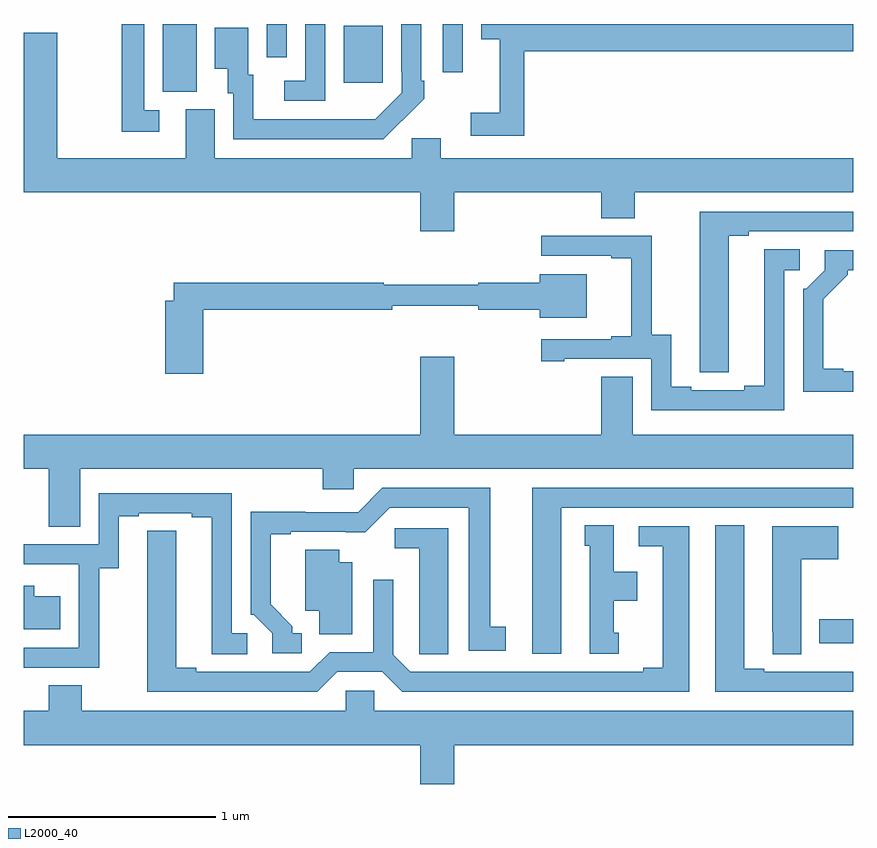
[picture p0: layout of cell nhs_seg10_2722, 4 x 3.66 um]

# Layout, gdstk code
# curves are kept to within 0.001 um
import gdstk
lib = gdstk.Library(unit=1e-6, precision=1e-09)
def R(c, l, rs):  # rectangles x0, y0, x1, y1
    for r in rs: c.add(gdstk.rectangle(r[:2], r[2:], *l))
def P(c, l, *ps):  # polygons
    for p in ps: c.add(gdstk.Polygon(p, *l))
L2000_40 = (2000, 40)

nhs_seg10_2722 = lib.new_cell('nhs_seg10_2722')
R(nhs_seg10_2722, L2000_40, [(262.835,1259.514,263,1259.631), (259.67,1262.173,259.834,1262.5), (260.543,1262.217,260.731,1262.491), (261.021,1262.268,261.117,1262.5), (260.172,1262.34,260.268,1262.5)])
P(nhs_seg10_2722, L2000_40, [(259.654,1262.085),(259.581,1262.085),(259.581,1262.5),(259.473,1262.5),(259.473,1261.98),(259.654,1261.98)],
  [(260.454,1262.5),(260.358,1262.5),(260.358,1262.226),(260.256,1262.226),(260.256,1262.13),(260.454,1262.13)],
  [(261.413,1262.368),(263,1262.368),(263,1262.5),(261.206,1262.5),(261.206,1262.426),(261.296,1262.426),(261.296,1262.071),(261.156,1262.071),(261.156,1261.962),(261.413,1261.962)],
  [(260.825,1262.035),(260.826,1262.034),(260.931,1262.139),(260.931,1262.227),(260.916,1262.227),(260.916,1262.5),(260.82,1262.5),(260.82,1262.269),(260.823,1262.269),(260.823,1262.169),(260.695,1262.041),(260.107,1262.04),(260.107,1262.256),(260.083,1262.256),(260.083,1262.482),(259.922,1262.482),(259.922,1262.285),(259.985,1262.285),(259.985,1262.166),(260.01,1262.166),(260.01,1261.944),(260.734,1261.944)],
  [(261.076,1261.688),(261.785,1261.688),(261.785,1261.564),(261.945,1261.564),(261.945,1261.688),(263,1261.688),(263,1261.852),(261.01,1261.852),(261.01,1261.95),(260.871,1261.95),(260.871,1261.852),(259.921,1261.852),(259.921,1262.088),(259.781,1262.088),(259.781,1261.852),(259.162,1261.852),(259.162,1262.458),(259,1262.458),(259,1261.688),(260.912,1261.688),(260.912,1261.5),(261.076,1261.5)],
  [(262.399,1261.48),(262.495,1261.48),(262.495,1261.5),(263,1261.5),(263,1261.596),(262.259,1261.596),(262.259,1260.928),(262.26,1260.928),(262.26,1260.82),(262.399,1260.82)],
  [(262.668,1261.314),(262.741,1261.314),(262.741,1261.415),(262.571,1261.415),(262.571,1260.755),(262.475,1260.755),(262.475,1260.735),(262.219,1260.735),(262.219,1260.75),(262.123,1260.75),(262.123,1261.001),(262.029,1261.001),(262.029,1261.479),(261.495,1261.479),(261.495,1261.383),(261.833,1261.383),(261.833,1261.371),(261.929,1261.371),(261.929,1260.994),(261.833,1260.994),(261.833,1260.981),(261.495,1260.981),(261.495,1260.873),(261.607,1260.873),(261.607,1260.885),(262.026,1260.885),(262.026,1260.639),(262.668,1260.639)],
  [(263,1260.825),(262.951,1260.825),(262.951,1260.838),(262.855,1260.838),(262.855,1261.174),(262.972,1261.291),(262.972,1261.314),(263,1261.314),(263,1261.41),(262.863,1261.41),(262.863,1261.314),(262.773,1261.224),(262.758,1261.224),(262.758,1260.728),(263,1260.728)],
  [(259.865,1261.123),(260.777,1261.123),(260.777,1261.141),(261.192,1261.141),(261.192,1261.123),(261.488,1261.123),(261.488,1261.085),(261.715,1261.085),(261.715,1261.294),(261.488,1261.294),(261.488,1261.252),(261.192,1261.252),(261.192,1261.244),(260.737,1261.244),(260.737,1261.252),(259.724,1261.252),(259.724,1261.165),(259.682,1261.165),(259.682,1260.813),(259.865,1260.813)],
  [(259.273,1260.356),(260.441,1260.356),(260.441,1260.258),(260.592,1260.258),(260.592,1260.356),(263,1260.356),(263,1260.52),(261.937,1260.52),(261.937,1260.8),(261.785,1260.8),(261.785,1260.52),(261.076,1260.52),(261.076,1260.895),(260.912,1260.895),(260.912,1260.52),(259,1260.52),(259,1260.356),(259.121,1260.356),(259.121,1260.076),(259.273,1260.076)],
  [(261.592,1260.168),(263,1260.168),(263,1260.264),(261.452,1260.264),(261.452,1259.463),(261.592,1259.463)],
  [(260.341,1259.562),(260.296,1259.562),(260.296,1259.597),(260.191,1259.702),(260.191,1260.039),(260.287,1260.039),(260.287,1260.051),(260.648,1260.05),(260.766,1260.168),(261.146,1260.168),(261.146,1259.478),(261.325,1259.478),(261.325,1259.594),(261.25,1259.594),(261.25,1260.264),(260.73,1260.264),(260.613,1260.147),(260.357,1260.147),(260.357,1260.149),(260.094,1260.149),(260.094,1259.652),(260.109,1259.652),(260.199,1259.562),(260.199,1259.466),(260.341,1259.466)],
  [(259.365,1259.875),(259.459,1259.875),(259.459,1260.126),(259.555,1260.126),(259.555,1260.141),(259.811,1260.141),(259.811,1260.121),(259.907,1260.121),(259.907,1259.461),(260.077,1259.461),(260.077,1259.562),(260.004,1259.562),(260.004,1260.237),(259.362,1260.237),(259.362,1259.991),(259,1259.991),(259,1259.895),(259.265,1259.895),(259.265,1259.894),(259.266,1259.894),(259.266,1259.493),(259,1259.493),(259,1259.397),(259.365,1259.397)],
  [(263,1259.377),(262.846,1259.377),(262.846,1259.376),(262.57,1259.376),(262.57,1259.391),(262.474,1259.391),(262.474,1260.083),(262.334,1260.083),(262.334,1259.28),(263,1259.28)],
  [(261.868,1259.565),(261.844,1259.565),(261.844,1259.72),(261.958,1259.72),(261.958,1259.86),(261.844,1259.86),(261.844,1260.083),(261.704,1260.083),(261.704,1259.985),(261.728,1259.985),(261.728,1259.463),(261.868,1259.463)],
  [(262.75,1259.92),(262.927,1259.92),(262.927,1260.079),(262.61,1260.079),(262.61,1259.569),(262.611,1259.569),(262.611,1259.461),(262.75,1259.461)],
  [(260.511,1259.376),(260.729,1259.376),(260.825,1259.28),(262.21,1259.28),(262.21,1260.078),(261.966,1260.078),(261.966,1259.982),(262.082,1259.982),(262.082,1259.396),(261.986,1259.396),(261.986,1259.376),(260.865,1259.376),(260.781,1259.46),(260.781,1259.821),(260.685,1259.821),(260.685,1259.472),(260.475,1259.472),(260.379,1259.376),(259.831,1259.376),(259.831,1259.396),(259.735,1259.396),(259.735,1260.056),(259.596,1260.056),(259.595,1259.28),(260.415,1259.28)],
  [(261.046,1260.069),(260.79,1260.069),(260.79,1259.972),(260.906,1259.972),(260.906,1259.569),(260.907,1259.569),(260.907,1259.461),(261.046,1259.461)],
  [(260.584,1259.905),(260.521,1259.905),(260.521,1259.966),(260.357,1259.966),(260.357,1259.672),(260.426,1259.672),(260.426,1259.557),(260.584,1259.557)],
  [(259.177,1259.74),(259.051,1259.74),(259.051,1259.791),(259,1259.791),(259,1259.582),(259.177,1259.582)],
  [(261.076,1259.024),(263,1259.024),(263,1259.188),(260.691,1259.188),(260.691,1259.286),(260.553,1259.286),(260.553,1259.188),(259.281,1259.188),(259.281,1259.312),(259.121,1259.312),(259.121,1259.188),(259,1259.188),(259,1259.024),(260.912,1259.024),(260.912,1258.836),(261.076,1258.836)])

lib.write_gds('nhs_seg10_2722.gds')
